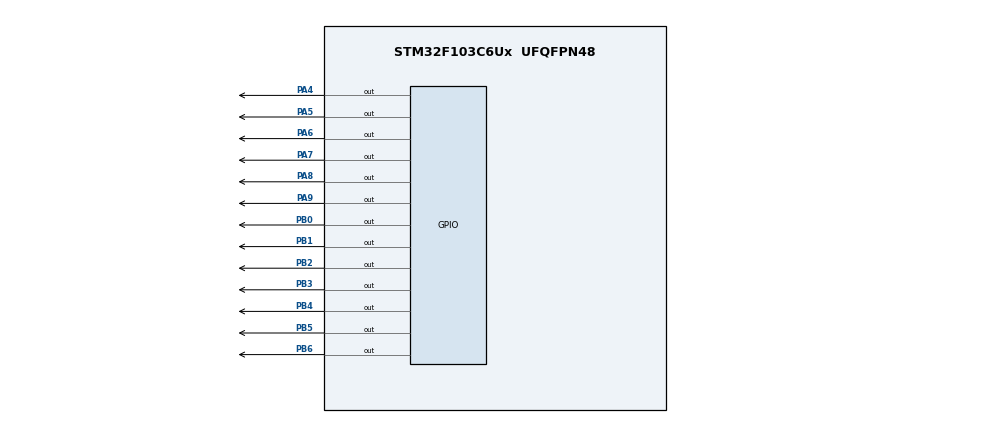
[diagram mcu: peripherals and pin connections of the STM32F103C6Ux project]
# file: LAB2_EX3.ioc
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Mcu.Family=STM32F1
Mcu.Name=STM32F103C6Ux
Mcu.Package=UFQFPN48
NVIC.PriorityGroup=NVIC_PRIORITYGROUP_4
NVIC.TIM2_IRQn=true\:0\:0\:false\:false\:true\:true\:true
PA4.Signal=GPIO_Output
PA5.Signal=GPIO_Output
PA6.Signal=GPIO_Output
PA7.Signal=GPIO_Output
PA8.Signal=GPIO_Output
PA9.Signal=GPIO_Output
PB0.Signal=GPIO_Output
PB1.Signal=GPIO_Output
PB2.Signal=GPIO_Output
PB3.Signal=GPIO_Output
PB4.Signal=GPIO_Output
PB5.Signal=GPIO_Output
PB6.Signal=GPIO_Output
ProjectManager.HeapSize=0x200
ProjectManager.StackSize=0x400
ProjectManager.TargetToolchain=STM32CubeIDE
RCC.APB1Freq_Value=8000000
RCC.APB2Freq_Value=8000000
TIM2.Period=9
TIM2.Prescaler=7999
VP_SYS_VS_ND.Mode=No_Debug
VP_TIM2_VS_ClockSourceINT.Mode=Internal
board=custom

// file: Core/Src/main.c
/* USER CODE BEGIN Header */
/**
  ******************************************************************************
  * @file           : main.c
  * @brief          : Main program body
  ******************************************************************************
  * @attention
  *
  * <h2><center>&copy; Copyright (c) 2025 STMicroelectronics.
  * All rights reserved.</center></h2>
  *
  * This software component is licensed by ST under BSD 3-Clause license,
  * the "License"; You may not use this file except in compliance with the
  * License. You may obtain a copy of the License at:
  *                        opensource.org/licenses/BSD-3-Clause
  *
  ******************************************************************************
  */
/* USER CODE END Header */
#include "main.h"

TIM_HandleTypeDef htim2;

void SystemClock_Config(void);
static void MX_GPIO_Init(void);
static void MX_TIM2_Init(void);

/* USER CODE BEGIN 0 */
volatile int tick10ms = 0;
volatile int secTick  = 0;
volatile int index_led = 0;

const int MAX_LED = 4;
int led_buffer[4] = {1, 2, 3, 0};

void display7SEG(int num){
    HAL_GPIO_WritePin(GPIOB, 0x7F, GPIO_PIN_SET);

    switch(num){
        case 0: // a,b,c,d,e,f
            HAL_GPIO_WritePin(GPIOB, GPIO_PIN_0, GPIO_PIN_RESET);
            HAL_GPIO_WritePin(GPIOB, GPIO_PIN_1, GPIO_PIN_RESET);
            HAL_GPIO_WritePin(GPIOB, GPIO_PIN_2, GPIO_PIN_RESET);
            HAL_GPIO_WritePin(GPIOB, GPIO_PIN_3, GPIO_PIN_RESET);
            HAL_GPIO_WritePin(GPIOB, GPIO_PIN_4, GPIO_PIN_RESET);
            HAL_GPIO_WritePin(GPIOB, GPIO_PIN_5, GPIO_PIN_RESET);
            break;
        case 1: // b,c
            HAL_GPIO_WritePin(GPIOB, GPIO_PIN_1, GPIO_PIN_RESET);
            HAL_GPIO_WritePin(GPIOB, GPIO_PIN_2, GPIO_PIN_RESET);
            break;
        case 2: // a,b,d,e,g
            HAL_GPIO_WritePin(GPIOB, GPIO_PIN_0, GPIO_PIN_RESET);
            HAL_GPIO_WritePin(GPIOB, GPIO_PIN_1, GPIO_PIN_RESET);
            HAL_GPIO_WritePin(GPIOB, GPIO_PIN_3, GPIO_PIN_RESET);
            HAL_GPIO_WritePin(GPIOB, GPIO_PIN_4, GPIO_PIN_RESET);
            HAL_GPIO_WritePin(GPIOB, GPIO_PIN_6, GPIO_PIN_RESET);
            break;
        case 3: // a,b,c,d,g
            HAL_GPIO_WritePin(GPIOB, GPIO_PIN_0, GPIO_PIN_RESET);
            HAL_GPIO_WritePin(GPIOB, GPIO_PIN_1, GPIO_PIN_RESET);
            HAL_GPIO_WritePin(GPIOB, GPIO_PIN_2, GPIO_PIN_RESET);
            HAL_GPIO_WritePin(GPIOB, GPIO_PIN_3, GPIO_PIN_RESET);
            HAL_GPIO_WritePin(GPIOB, GPIO_PIN_6, GPIO_PIN_RESET);
            break;
    }
}

void disableAllDigits(void){
    HAL_GPIO_WritePin(GPIOA, GPIO_PIN_6, GPIO_PIN_SET);
    HAL_GPIO_WritePin(GPIOA, GPIO_PIN_7, GPIO_PIN_SET);
    HAL_GPIO_WritePin(GPIOA, GPIO_PIN_8, GPIO_PIN_SET);
    HAL_GPIO_WritePin(GPIOA, GPIO_PIN_9, GPIO_PIN_SET);
}
void enableDigit(int idx){
    switch(idx){
        case 0: HAL_GPIO_WritePin(GPIOA, GPIO_PIN_6, GPIO_PIN_RESET); break;
        case 1: HAL_GPIO_WritePin(GPIOA, GPIO_PIN_7, GPIO_PIN_RESET); break;
        case 2: HAL_GPIO_WritePin(GPIOA, GPIO_PIN_8, GPIO_PIN_RESET); break;
        case 3: HAL_GPIO_WritePin(GPIOA, GPIO_PIN_9, GPIO_PIN_RESET); break;
    }
}

void update7SEG(int index){
    disableAllDigits();

    switch(index){
        case 0: display7SEG(led_buffer[0]); enableDigit(0); break;
        case 1: display7SEG(led_buffer[1]); enableDigit(1); break;
        case 2: display7SEG(led_buffer[2]); enableDigit(2); break;
        case 3: display7SEG(led_buffer[3]); enableDigit(3); break;
    }
}

/* USER CODE END 0 */

int main(void)
{

  /* MCU Configuration--------------------------------------------------------*/

  /* Reset of all peripherals, Initializes the Flash interface and the Systick. */
  HAL_Init();

  /* Configure the system clock */
  SystemClock_Config();

  /* Initialize all configured peripherals */
  MX_GPIO_Init();
  MX_TIM2_Init();
  /* USER CODE BEGIN 2 */
  HAL_TIM_Base_Start_IT(&htim2);
  /* USER CODE END 2 */

  /* Infinite loop */
  while (1)
  {

  }
}

void SystemClock_Config(void)
{
  RCC_OscInitTypeDef RCC_OscInitStruct = {0};
  RCC_ClkInitTypeDef RCC_ClkInitStruct = {0};

  /** Initializes the RCC Oscillators according to the specified parameters
  * in the RCC_OscInitTypeDef structure.
  */
  RCC_OscInitStruct.OscillatorType = RCC_OSCILLATORTYPE_HSI;
  RCC_OscInitStruct.HSIState = RCC_HSI_ON;
  RCC_OscInitStruct.HSICalibrationValue = RCC_HSICALIBRATION_DEFAULT;
  RCC_OscInitStruct.PLL.PLLState = RCC_PLL_NONE;
  if (HAL_RCC_OscConfig(&RCC_OscInitStruct) != HAL_OK)
  {
    Error_Handler();
  }
  /** Initializes the CPU, AHB and APB buses clocks
  */
  RCC_ClkInitStruct.ClockType = RCC_CLOCKTYPE_HCLK|RCC_CLOCKTYPE_SYSCLK
                              |RCC_CLOCKTYPE_PCLK1|RCC_CLOCKTYPE_PCLK2;
  RCC_ClkInitStruct.SYSCLKSource = RCC_SYSCLKSOURCE_HSI;
  RCC_ClkInitStruct.AHBCLKDivider = RCC_SYSCLK_DIV1;
  RCC_ClkInitStruct.APB1CLKDivider = RCC_HCLK_DIV1;
  RCC_ClkInitStruct.APB2CLKDivider = RCC_HCLK_DIV1;

  if (HAL_RCC_ClockConfig(&RCC_ClkInitStruct, FLASH_LATENCY_0) != HAL_OK)
  {
    Error_Handler();
  }
}

static void MX_TIM2_Init(void)
{

  TIM_ClockConfigTypeDef sClockSourceConfig = {0};
  TIM_MasterConfigTypeDef sMasterConfig = {0};

  htim2.Instance = TIM2;
  htim2.Init.Prescaler = 7999;
  htim2.Init.CounterMode = TIM_COUNTERMODE_UP;
  htim2.Init.Period = 9;
  htim2.Init.ClockDivision = TIM_CLOCKDIVISION_DIV1;
  htim2.Init.AutoReloadPreload = TIM_AUTORELOAD_PRELOAD_DISABLE;
  if (HAL_TIM_Base_Init(&htim2) != HAL_OK)
  {
    Error_Handler();
  }
  sClockSourceConfig.ClockSource = TIM_CLOCKSOURCE_INTERNAL;
  if (HAL_TIM_ConfigClockSource(&htim2, &sClockSourceConfig) != HAL_OK)
  {
    Error_Handler();
  }
  sMasterConfig.MasterOutputTrigger = TIM_TRGO_RESET;
  sMasterConfig.MasterSlaveMode = TIM_MASTERSLAVEMODE_DISABLE;
  if (HAL_TIMEx_MasterConfigSynchronization(&htim2, &sMasterConfig) != HAL_OK)
  {
    Error_Handler();
  }

}

static void MX_GPIO_Init(void)
{
  GPIO_InitTypeDef GPIO_InitStruct = {0};

  /* GPIO Ports Clock Enable */
  __HAL_RCC_GPIOA_CLK_ENABLE();
  __HAL_RCC_GPIOB_CLK_ENABLE();

  /*Configure GPIO pin Output Level */
  HAL_GPIO_WritePin(GPIOA, GPIO_PIN_4|GPIO_PIN_5|GPIO_PIN_6|GPIO_PIN_7
                          |GPIO_PIN_8|GPIO_PIN_9, GPIO_PIN_RESET);

  /*Configure GPIO pin Output Level */
  HAL_GPIO_WritePin(GPIOB, GPIO_PIN_0|GPIO_PIN_1|GPIO_PIN_2|GPIO_PIN_3
                          |GPIO_PIN_4|GPIO_PIN_5|GPIO_PIN_6, GPIO_PIN_RESET);

  /*Configure GPIO pins : PA4 PA5 PA6 PA7
                           PA8 PA9 */
  GPIO_InitStruct.Pin = GPIO_PIN_4|GPIO_PIN_5|GPIO_PIN_6|GPIO_PIN_7
                          |GPIO_PIN_8|GPIO_PIN_9;
  GPIO_InitStruct.Mode = GPIO_MODE_OUTPUT_PP;
  GPIO_InitStruct.Pull = GPIO_NOPULL;
  GPIO_InitStruct.Speed = GPIO_SPEED_FREQ_LOW;
  HAL_GPIO_Init(GPIOA, &GPIO_InitStruct);

  /*Configure GPIO pins : PB0 PB1 PB2 PB3
                           PB4 PB5 PB6 */
  GPIO_InitStruct.Pin = GPIO_PIN_0|GPIO_PIN_1|GPIO_PIN_2|GPIO_PIN_3
                          |GPIO_PIN_4|GPIO_PIN_5|GPIO_PIN_6;
  GPIO_InitStruct.Mode = GPIO_MODE_OUTPUT_PP;
  GPIO_InitStruct.Pull = GPIO_NOPULL;
  GPIO_InitStruct.Speed = GPIO_SPEED_FREQ_LOW;
  HAL_GPIO_Init(GPIOB, &GPIO_InitStruct);

}

/* USER CODE BEGIN 4 */
void HAL_TIM_PeriodElapsedCallback(TIM_HandleTypeDef *htim){
    if(htim->Instance == TIM2){
        tick10ms++;
        secTick++;

        if(tick10ms >= 50){
            tick10ms = 0;

            update7SEG(index_led);

            index_led++;
            if(index_led >= MAX_LED) index_led = 0;
        }

        if(secTick >= 100){
            secTick = 0;
            HAL_GPIO_TogglePin(GPIOA, GPIO_PIN_4);
            HAL_GPIO_TogglePin(GPIOA, GPIO_PIN_5);
        }
    }
}

/* USER CODE END 4 */

void Error_Handler(void)
{
  __disable_irq();
  while (1)
  {
  }
}

/************************ (C) COPYRIGHT STMicroelectronics *****END OF FILE****/
